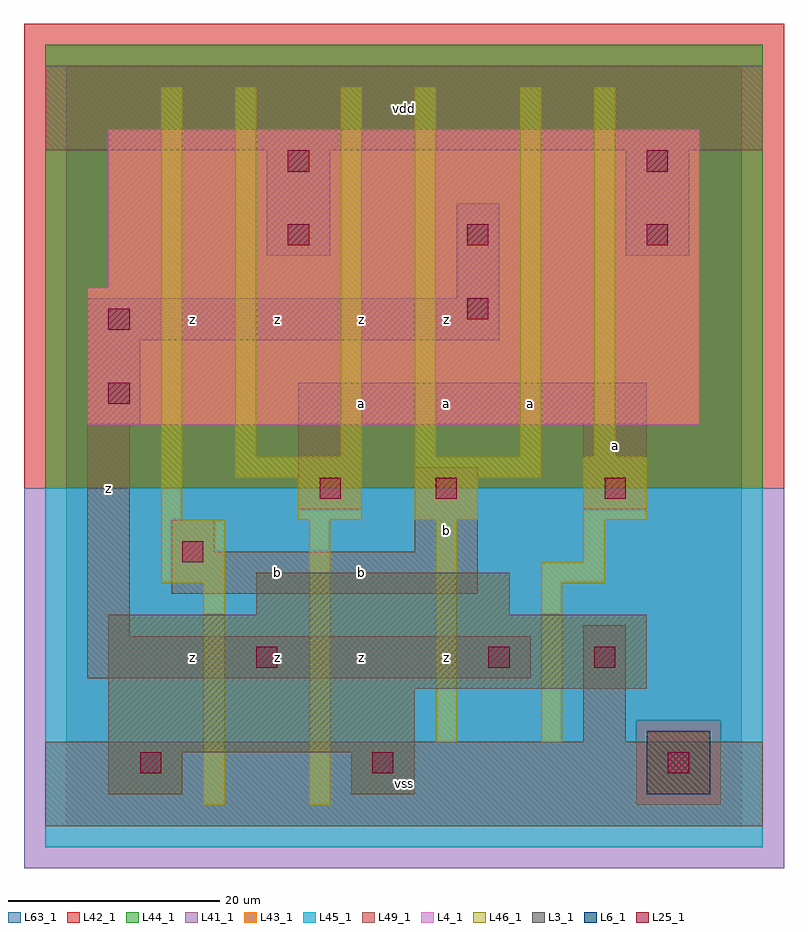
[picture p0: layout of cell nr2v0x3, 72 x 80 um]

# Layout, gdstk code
import gdstk
lib = gdstk.Library(unit=1e-6, precision=1e-09)
def R(c, l, rs):  # rectangles x0, y0, x1, y1
    for r in rs: c.add(gdstk.rectangle(r[:2], r[2:], *l))
def A(c, l, x, y, w, h, nx, ny, dx, dy):  # array of equal rectangles
    R(c, l, [(x+i*dx, y+j*dy, x+i*dx+w, y+j*dy+h) for i in range(nx) for j in range(ny)])
L3_1 = (3, 1)
L4_1 = (4, 1)
L6_1 = (6, 1)
L25_1 = (25, 1)
L41_1 = (41, 1)
L42_1 = (42, 1)
L43_1 = (43, 1)
L44_1 = (44, 1)
L45_1 = (45, 1)
L46_1 = (46, 1)
L49_1 = (49, 1)
L63_1 = (63, 1)

nr2v0x3 = lib.new_cell('nr2v0x3')
R(nr2v0x3, L3_1, [(4,3,11,7), (27,3,33,7), (4,7,33,13), (4,13,55,20), (18,20,42,24)])
R(nr2v0x3, L4_1, [(2,38,60,51), (4,51,60,66)])
R(nr2v0x3, L6_1, [(55,3,61,9), (55,3,61,9)])
A(nr2v0x3, L25_1, 21, 55, 2, 2, 3, 1, 17, 0)
R(nr2v0x3, L25_1, [(7,5,9,7), (29,5,31,7), (57,5,59,7), (18,15,20,17), (40,15,42,17), (50,15,52,17), (11,25,13,27), (24,31,26,33), (35,31,37,33), (51,31,53,33), (4,40,6,42), (4,47,6,49), (38,48,40,50), (21,62,23,64), (55,62,57,64)])
R(nr2v0x3, L41_1, [(-4,-4,68,32)])
R(nr2v0x3, L42_1, [(-4,32,68,76)])
R(nr2v0x3, L43_1, [(4,3,11,7), (27,3,33,7), (55,3,61,9), (4,7,33,13), (4,13,55,20), (18,20,42,24), (2,38,60,51), (4,51,60,66)])
R(nr2v0x3, L44_1, [(54,2,62,10), (-2,32,66,74)])
R(nr2v0x3, L45_1, [(-2,-2,66,2), (-2,2,54,10), (62,2,66,10), (-2,10,66,32)])
R(nr2v0x3, L46_1, [(13,2,15,23), (23,2,25,29), (35,8,37,29), (45,8,47,23), (9,23,15,29), (45,23,51,25), (49,25,51,29), (9,29,11,70), (22,29,28,33), (33,29,39,33), (49,29,55,35), (16,33,28,35), (33,33,45,35), (16,35,18,70), (26,35,28,70), (33,35,35,70), (43,35,45,70), (50,35,52,70)])
R(nr2v0x3, L49_1, [(-2,0,66,8), (49,8,53,19), (2,14,44,18), (2,18,6,38), (10,22,39,26), (10,26,14,29), (33,26,39,34), (22,30,28,38), (49,30,55,38), (2,38,7,46), (22,38,55,42), (2,46,41,50), (37,50,41,59), (19,54,25,64), (53,54,59,64), (-2,64,66,72)])
R(nr2v0x3, L63_1, [(0,0,64,72)])
nr2v0x3.add(gdstk.Label('z', (12,16), layer=49, texttype=1))
nr2v0x3.add(gdstk.Label('z', (4,32), layer=49, texttype=1))
nr2v0x3.add(gdstk.Label('z', (12,48), layer=49, texttype=1))
nr2v0x3.add(gdstk.Label('z', (20,16), layer=49, texttype=1))
nr2v0x3.add(gdstk.Label('z', (28,16), layer=49, texttype=1))
nr2v0x3.add(gdstk.Label('b', (20,24), layer=49, texttype=1))
nr2v0x3.add(gdstk.Label('b', (28,24), layer=49, texttype=1))
nr2v0x3.add(gdstk.Label('a', (28,40), layer=49, texttype=1))
nr2v0x3.add(gdstk.Label('z', (20,48), layer=49, texttype=1))
nr2v0x3.add(gdstk.Label('z', (28,48), layer=49, texttype=1))
nr2v0x3.add(gdstk.Label('vss', (32,4), layer=49, texttype=1))
nr2v0x3.add(gdstk.Label('z', (36,16), layer=49, texttype=1))
nr2v0x3.add(gdstk.Label('b', (36,28), layer=49, texttype=1))
nr2v0x3.add(gdstk.Label('a', (44,40), layer=49, texttype=1))
nr2v0x3.add(gdstk.Label('a', (36,40), layer=49, texttype=1))
nr2v0x3.add(gdstk.Label('z', (36,48), layer=49, texttype=1))
nr2v0x3.add(gdstk.Label('vdd', (32,68), layer=49, texttype=1))
nr2v0x3.add(gdstk.Label('a', (52,36), layer=49, texttype=1))

lib.write_gds('nr2v0x3.gds')
